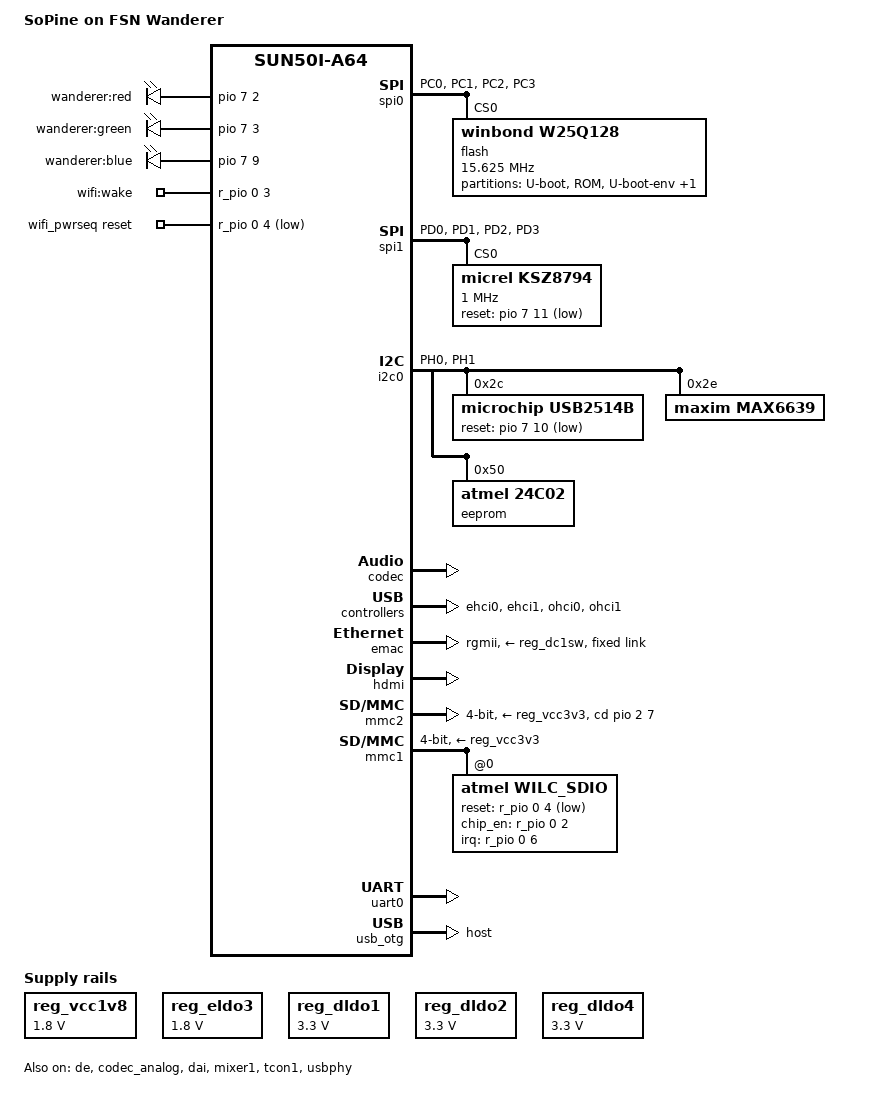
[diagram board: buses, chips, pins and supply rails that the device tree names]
/*
 * Copyright (c) 2017 Icenowy Zheng <icenowy@aosc.xyz>
 *
 * Based on sun50i-a64-pine64.dts, which is:
 *   Copyright (c) 2016 ARM Ltd.
 *
 * This file is dual-licensed: you can use it either under the terms
 * of the GPL or the X11 license, at your option. Note that this dual
 * licensing only applies to this file, and not this project as a
 * whole.
 *
 *  a) This library is free software; you can redistribute it and/or
 *     modify it under the terms of the GNU General Public License as
 *     published by the Free Software Foundation; either version 2 of the
 *     License, or (at your option) any later version.
 *
 *     This library is distributed in the hope that it will be useful,
 *     but WITHOUT ANY WARRANTY; without even the implied warranty of
 *     MERCHANTABILITY or FITNESS FOR A PARTICULAR PURPOSE.  See the
 *     GNU General Public License for more details.
 *
 * Or, alternatively,
 *
 *  b) Permission is hereby granted, free of charge, to any person
 *     obtaining a copy of this software and associated documentation
 *     files (the "Software"), to deal in the Software without
 *     restriction, including without limitation the rights to use,
 *     copy, modify, merge, publish, distribute, sublicense, and/or
 *     sell copies of the Software, and to permit persons to whom the
 *     Software is furnished to do so, subject to the following
 *     conditions:
 *
 *     The above copyright notice and this permission notice shall be
 *     included in all copies or substantial portions of the Software.
 *
 *     THE SOFTWARE IS PROVIDED "AS IS", WITHOUT WARRANTY OF ANY KIND,
 *     EXPRESS OR IMPLIED, INCLUDING BUT NOT LIMITED TO THE WARRANTIES
 *     OF MERCHANTABILITY, FITNESS FOR A PARTICULAR PURPOSE AND
 *     NONINFRINGEMENT. IN NO EVENT SHALL THE AUTHORS OR COPYRIGHT
 *     HOLDERS BE LIABLE FOR ANY CLAIM, DAMAGES OR OTHER LIABILITY,
 *     WHETHER IN AN ACTION OF CONTRACT, TORT OR OTHERWISE, ARISING
 *     FROM, OUT OF OR IN CONNECTION WITH THE SOFTWARE OR THE USE OR
 *     OTHER DEALINGS IN THE SOFTWARE.
 */

/dts-v1/;

#include "sun50i-a64-sopine.dtsi"
#include <dt-bindings/gpio/gpio.h>
#include <dt-bindings/input/input.h>
#include <dt-bindings/pwm/pwm.h>

/ {
	model = "SoPine on FSN Wanderer";
	compatible = "pine64,sopine-baseboard", "pine64,sopine",
		     "allwinner,sun50i-a64";

	aliases {
		ethernet0 = &emac;
		serial0 = &uart0;
	};

	chosen {
		stdout-path = "serial0:115200n8";
	};

	reg_vcc1v8: vcc1v8 {
		compatible = "regulator-fixed";
		regulator-name = "vcc1v8";
		regulator-min-microvolt = <1800000>;
		regulator-max-microvolt = <1800000>;
	};
	
	leds {
		compatible = "gpio-leds";
		red {
			label = "wanderer:red";
			gpios = <&pio 7 2 GPIO_ACTIVE_HIGH>; /* PH2 */
			default-state = "on";
		};

		green {
			label = "wanderer:green";
			gpios = <&pio 7 3 GPIO_ACTIVE_HIGH>; /* PH3 */
			default-state = "on";
		};
		
		blue {
			label = "wanderer:blue";
			gpios = <&pio 7 9 GPIO_ACTIVE_HIGH>; /* PH9 */
			default-state = "on";
		};
		wifi_wake {
			label = "wifi:wake";
			gpios = <&r_pio 0 3 GPIO_ACTIVE_HIGH>;
			default-state = "on";
		};
		/*wifi_en {
			label = "wifi:en";
			gpios = <&r_pio 0 2 GPIO_ACTIVE_HIGH>;
			default-state = "on";
		};
		wifi_rst {
			label = "wifi:rst";
			gpios = <&r_pio 0 4 GPIO_ACTIVE_HIGH>;
			default-state = "on";
		};*/
		
	};
	spi0: spi@1c68000 {
		compatible = "allwinner,sun6i-a31-spi";
		reg = <0x01c68000 0x1000>;
		pinctrl-names = "default";
		pinctrl-0 = <&spi0_pins>;
		interrupts = <GIC_SPI 65 IRQ_TYPE_LEVEL_HIGH>;
		clocks = <&ccu CLK_BUS_SPI0>, <&ccu CLK_SPI0>;
		resets = <&ccu RST_BUS_SPI0>;
		clock-names = "ahb", "mod";
		/*dmas = <&dma 23>, <&dma 23>;
		dma-names = "rx", "tx";*/
		status = "okay";
		#address-cells = <1>;
		#size-cells = <0>;
		flash: w25q128@0 {
			#address-cells = <1>;
			#size-cells = <1>;
			compatible = "winbond,w25q128";
			spi-max-frequency = <15625000>;
			reg = <0>;

			partition@00000 {
				label = "U-boot";
				reg = <0x00000 0xde000>;
				read-only;
			};
	
			partition@de000 {
				label = "ROM";
				reg = <0xde000 0x2000>;
				read-only;
			};
	
			partition@e0000 {
				label = "U-boot-env";
				reg = <0xe0000 0x20000>;
				read-only;
			};
	
			partition@100000 {
				label = "Unused1";
				reg = <0x100000 0x100000>;
			};

		};
	};
	
	spi1: spi@01c69000 {
		compatible = "allwinner,sun6i-a31-spi";
		reg = <0x01c69000 0x1000>;
		pinctrl-names = "default";
		pinctrl-0 = <&spi1_pins>;
		interrupts = <GIC_SPI 66 IRQ_TYPE_LEVEL_HIGH>;
		clocks = <&ccu CLK_BUS_SPI1>, <&ccu CLK_SPI1>;
		resets = <&ccu RST_BUS_SPI1>;
		clock-names = "ahb", "mod";
		/*dmas = <&dma 24>, <&dma 24>;
		dma-names = "rx", "tx";*/
		status = "okay";
		#address-cells = <1>;
		#size-cells = <0>;
		ksz8794@0 {
			compatible = "micrel,ksz8794";
			spi-max-frequency = <1000000>;
			reg = <0>;
			reset-gpios = <&pio 7 11 GPIO_ACTIVE_LOW>;			
		};
		
	};
	/* We sequence the wifi chip reset to enable probing */
	wifi_pwrseq: wifi_pwrseq {
		compatible = "mmc-pwrseq-simple";
		reset-gpios = <&r_pio 0 4 GPIO_ACTIVE_LOW>; 
	};
	
};

/* Hog required GPIOs, e.g. enable USB power */
&pio {
	pullup: pullup {
		pins = "PC7", "PC4", "PB3";
		bias-pull-up;
	};
	i2c0_pins: i2c0_pins {
		pins = "PH0", "PH1";
		function = "i2c0";
		bias-pull-up;
	};
	spi1_pins: spi1_pins {
		pins = "PD0", "PD1", "PD2", "PD3";
		function = "spi1";
	};
	spi0_pins: spi0 {
		pins = "PC0", "PC1", "PC2", "PC3";
		function = "spi0";
	};
};

&r_pio {
};

&i2c0 {
	pinctrl-names = "default";
	pinctrl-0 = <&i2c0_pins>;
	status = "okay";
	usb2514b@2c {
		compatible = "microchip,usb2514b";
		reg = <0x2c>;
		reset-gpios = <&pio 7 10 GPIO_ACTIVE_LOW>;
	};
	max6639@2e {
		compatible = "maxim,max6639";
		reg = <0x2e>;
	};
	eeprom@50 {
		compatible = "atmel,24c02";
		reg = <0x50>;
	};
};


&de {
	status = "okay";
};

&codec {
	status = "okay";
};

&codec_analog {
	status = "okay";
};

&dai {
	status = "okay";
};

&ehci0 {
	status = "okay";
};

&ehci1 {
	status = "okay";
};

&emac {
	pinctrl-names = "default";
	pinctrl-0 = <&rgmii_pins>;
	phy-mode = "rgmii";
	/*phy-handle = <&ext_rgmii_phy>;*/
	phy-supply = <&reg_dc1sw>;
	/*allwinner,tx-delay-ps = <700>;*/
	status = "okay";
	fixed-link {
	      speed = <1000>;
	      full-duplex;
	};
};

&hdmi {
	hvcc-supply = <&reg_dldo1>;
	status = "okay";
};

/*&mdio {
	status = "okay";
	ext_rgmii_phy: ethernet-phy@0 {
		compatible = "ethernet-phy-ieee802.3-c22";
		reg = <0>;
	};
};*/

&mixer1 {
	status = "okay";
};

&mmc2 {
	pinctrl-names = "default";
	pinctrl-0 = <&mmc2_pins>;
	vmmc-supply = <&reg_vcc3v3>;
	vqmmc-supply = <&reg_dcdc1>;
	bus-width = <4>;
	cap-mmc-hw-reset;
	cd-gpios = <&pio 2 7 GPIO_ACTIVE_HIGH>;
	status = "okay";
};

&reg_eldo3 {
	regulator-always-on;
	regulator-min-microvolt = <1800000>;
	regulator-max-microvolt = <1800000>;
	regulator-name = "vdd-1v8-wifi";
};

&mmc1 {
	pinctrl-names = "default";
	pinctrl-0 = <&mmc1_pins>;
	vmmc-supply = <&reg_vcc3v3>;
	/*vqmmc-supply = <&reg_eldo1>;*/
	mmc-pwrseq = <&wifi_pwrseq>;
	bus-width = <4>;
	cap-mmc-hw-reset;
	/*non-removable;*/
	broken-cd;
	/*cd-gpios = <&r_pio 0 3 GPIO_ACTIVE_HIGH>;*/
	/*cd-inverted;*/
	/*max-frequency = <20000000>;*/
	status = "okay";
	/* wilc1000 is powered by DLDO4 @ 3.3V and ELDO1/3 @ 1.8V - core must rise before/with i/o */
    irq_gpios = <&r_pio 0 6 IRQ_TYPE_LEVEL_LOW>;
	wilc_sdio: wilc_sdio@0 {
	    compatible = "atmel,wilc_sdio";
		reg = <0>;
		gpio_reset = <&r_pio 0 4 GPIO_ACTIVE_LOW>;
		gpio_chip_en = <&r_pio 0 2 GPIO_ACTIVE_HIGH>;
	    gpio_irq = <&r_pio 0 6 IRQ_TYPE_LEVEL_LOW>;
	    /* latest driver... */
	    irq_gpios = <&r_pio 0 6 IRQ_TYPE_LEVEL_LOW>;
	    /* Old driver */
	    /*gpios = <&r_pio 0 6 IRQ_TYPE_LEVEL_LOW>;*/
	};
};


&ohci0 {
	status = "okay";
};

&ohci1 {
	status = "okay";
};

&reg_dc1sw {
        regulator-always-on;
	regulator-name = "vcc-phy";
};

&reg_dldo1 {
	regulator-min-microvolt = <3300000>;
	regulator-max-microvolt = <3300000>;
	regulator-name = "vcc-hdmi";
};

&reg_dldo2 {
	regulator-min-microvolt = <3300000>;
	regulator-max-microvolt = <3300000>;
	regulator-name = "vcc-wifi";
};

&reg_dldo4 {
    regulator-always-on;
	regulator-min-microvolt = <3300000>;
	regulator-max-microvolt = <3300000>;
	regulator-name = "vcc-wifi-io";
};

&tcon1 {
	status = "okay";
};

&sound {
	status = "okay";
};

&uart0 {
	pinctrl-names = "default";
	pinctrl-0 = <&uart0_pins_a>;
	status = "okay";
};

&usb_otg {
	dr_mode = "host";
	status = "okay";
};

&usbphy {
	status = "okay";
};
